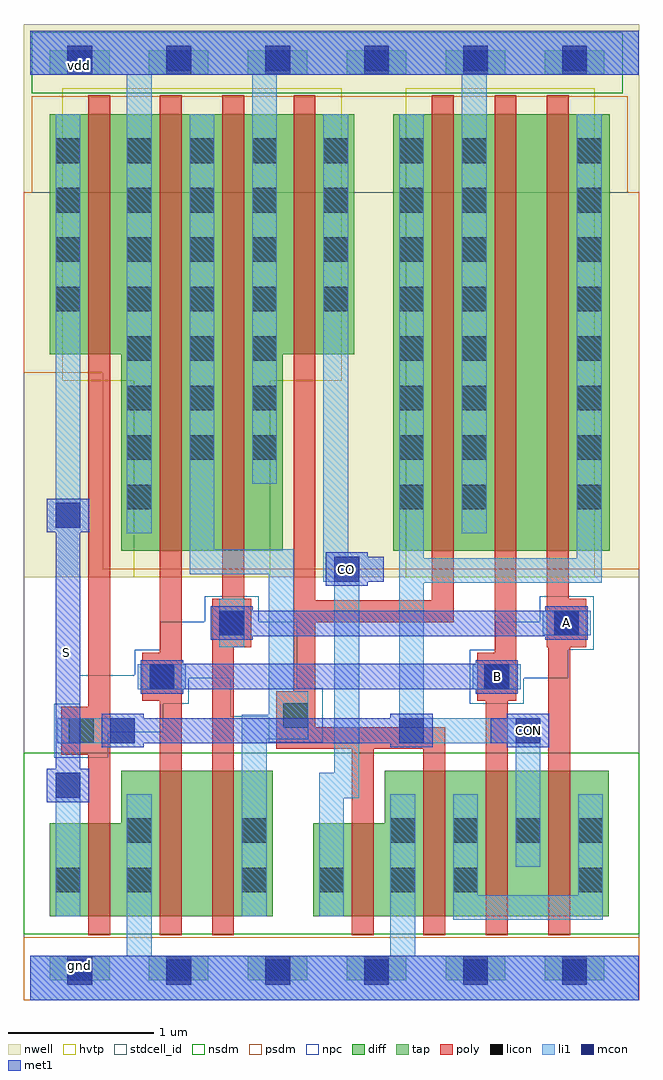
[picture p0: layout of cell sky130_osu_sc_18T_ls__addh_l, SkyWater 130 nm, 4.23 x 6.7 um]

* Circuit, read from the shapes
.subckt sky130_osu_sc_18T_ls__addh_l A B CO CON S gnd vdd
XM1 gnd CON S gnd sky130_fd_pr__nfet_01v8 w=0.64 l=0.15
XM2 n1 B gnd gnd sky130_fd_pr__nfet_01v8 w=1 l=0.15
XM3 n2 A n1 gnd sky130_fd_pr__nfet_01v8 w=1 l=0.15
XM4 gnd n2 CO gnd sky130_fd_pr__nfet_01v8 w=0.64 l=0.15
XM5 n3 n2 gnd gnd sky130_fd_pr__nfet_01v8 w=1 l=0.15
XM6 CON B n3 gnd sky130_fd_pr__nfet_01v8 w=1 l=0.15
XM7 n3 A CON gnd sky130_fd_pr__nfet_01v8 w=1 l=0.15
XM8 vdd CON S vdd sky130_fd_pr__pfet_01v8_hvt w=1.65 l=0.15
XM9 n2 B vdd vdd sky130_fd_pr__pfet_01v8_hvt w=3 l=0.15
XM10 vdd A n2 vdd sky130_fd_pr__pfet_01v8_hvt w=3 l=0.15
XM11 CO n2 vdd vdd sky130_fd_pr__pfet_01v8_hvt w=1.65 l=0.15
XM12 vdd n2 CON vdd sky130_fd_pr__pfet_01v8_hvt w=3 l=0.15
XM13 n4 B vdd vdd sky130_fd_pr__pfet_01v8_hvt w=3 l=0.15
XM14 CON A n4 vdd sky130_fd_pr__pfet_01v8_hvt w=3 l=0.15
.ends

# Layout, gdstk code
import gdstk
lib = gdstk.Library(unit=1e-6, precision=1e-09)
def R(c, l, rs):  # rectangles x0, y0, x1, y1
    for r in rs: c.add(gdstk.rectangle(r[:2], r[2:], *l))
def A(c, l, x, y, w, h, nx, ny, dx, dy):  # array of equal rectangles
    R(c, l, [(x+i*dx, y+j*dy, x+i*dx+w, y+j*dy+h) for i in range(nx) for j in range(ny)])
nwell = (64, 20)
diff = (65, 20)
tap = (65, 44)
poly = (66, 20)
licon = (66, 44)
li1 = (67, 20)
mcon = (67, 44)
met1 = (68, 20)
hvtp = (78, 44)
stdcell_id = (81, 4)
nsdm = (93, 44)
psdm = (94, 20)
npc = (95, 20)

sky130_osu_sc_18t_ls__ad = lib.new_cell('sky130_osu_sc_18T_ls__addh_l')
R(sky130_osu_sc_18t_ls__ad, nwell, [(-0.045,2.905,4.185,6.705)])
R(sky130_osu_sc_18t_ls__ad, diff, [(0.135,0.575,1.665,1.215), (1.945,0.575,3.975,1.215), (0.625,1.215,1.665,1.575), (2.435,1.215,3.975,1.575), (0.625,3.085,1.735,4.435), (2.495,3.085,3.98,6.085), (0.135,4.435,2.225,6.085)])
A(sky130_osu_sc_18t_ls__ad, tap, 0.135, 0.135, 0.41, 0.17, 6, 2, 0.68, 6.22)
R(sky130_osu_sc_18t_ls__ad, poly, [(0.4,0.445,0.55,1.685), (0.89,0.445,1.04,2.055), (1.25,0.445,1.4,2.425), (2.21,0.445,2.36,1.725), (2.7,0.445,2.85,1.725), (3.13,0.445,3.28,2.055), (3.56,0.445,3.71,2.425), (0.215,1.685,0.55,2.015), (1.69,1.725,2.85,1.875), (1.69,1.875,1.96,2.12), (0.4,2.015,0.55,6.215), (0.77,2.055,1.04,2.385), (3.07,2.055,3.34,2.385), (1.81,2.12,1.96,2.595), (0.89,2.385,1.04,6.215), (3.19,2.385,3.34,6.215), (1.25,2.425,1.52,2.755), (3.55,2.425,3.82,2.755), (1.81,2.595,2.91,2.745), (1.81,2.745,1.96,6.215), (2.76,2.745,2.91,6.215), (1.32,2.755,1.47,6.215), (3.55,2.755,3.7,6.215)])
A(sky130_osu_sc_18t_ls__ad, licon, 0.255, 0.135, 0.17, 0.17, 6, 2, 0.68, 6.22)
A(sky130_osu_sc_18t_ls__ad, licon, 2.475, 1.08, 0.17, 0.17, 4, 1, 0.43, 0)
A(sky130_osu_sc_18t_ls__ad, licon, 2.535, 3.37, 0.17, 0.17, 1, 8, 0, 0.34)
A(sky130_osu_sc_18t_ls__ad, licon, 2.965, 3.37, 0.17, 0.17, 1, 8, 0, 0.34)
A(sky130_osu_sc_18t_ls__ad, licon, 3.755, 3.37, 0.17, 0.17, 1, 8, 0, 0.34)
A(sky130_osu_sc_18t_ls__ad, licon, 0.665, 3.71, 0.17, 0.17, 3, 7, 0.43, 0.34)
A(sky130_osu_sc_18t_ls__ad, licon, 0.175, 4.73, 0.17, 0.17, 1, 4, 0, 0.34)
A(sky130_osu_sc_18t_ls__ad, licon, 2.015, 4.73, 0.17, 0.17, 1, 4, 0, 0.34)
R(sky130_osu_sc_18t_ls__ad, licon, [(0.175,0.74,0.345,0.91), (0.665,0.74,0.835,0.91), (1.455,0.74,1.625,0.91), (1.985,0.74,2.155,0.91), (2.475,0.74,2.645,0.91), (2.905,0.74,3.075,0.91), (3.765,0.74,3.935,0.91), (0.665,1.08,0.835,1.25), (1.455,1.08,1.625,1.25), (0.265,1.765,0.435,1.935), (1.74,1.87,1.91,2.04), (0.82,2.135,0.99,2.305), (3.12,2.135,3.29,2.305), (1.3,2.505,1.47,2.675), (3.6,2.505,3.77,2.675), (0.665,3.37,0.835,3.54)])
R(sky130_osu_sc_18t_ls__ad, li1, [(0,0,4.18,0.305), (0.665,0.305,0.835,1.415), (2.475,0.305,2.645,1.415), (2.905,0.55,3.935,0.72), (0.175,0.575,0.345,1.56), (1.455,0.575,1.625,1.79), (1.985,0.575,2.155,1.385), (2.905,0.72,3.075,1.415), (3.765,0.72,3.935,1.415), (3.335,0.915,3.505,1.765), (1.985,1.385,2.26,1.56), (2.09,1.56,2.26,2.875), (0.185,1.765,0.72,1.935), (2.535,1.765,3.505,1.935), (1.455,1.79,1.91,1.96), (2.535,1.935,2.705,2.865), (1.64,1.96,1.91,2.12), (1.64,2.12,1.81,2.925), (0.74,2.135,1.07,2.305), (3.04,2.135,3.37,2.305), (1.3,2.425,1.47,2.755), (3.52,2.505,3.85,2.675), (2.535,2.865,3.925,3.035), (2.015,2.875,2.26,3.045), (1.095,2.925,1.81,3.095), (2.535,3.035,2.705,6.085), (3.755,3.035,3.925,6.085), (2.015,3.045,2.185,6.085), (1.095,3.095,1.265,6.085), (0.665,3.205,0.835,6.355), (2.965,3.205,3.135,6.355), (0.175,3.245,0.345,6.085), (1.525,3.545,1.695,6.355), (0,6.355,4.18,6.66)])
A(sky130_osu_sc_18t_ls__ad, mcon, 0.255, 0.105, 0.17, 0.17, 6, 2, 0.68, 6.28)
R(sky130_osu_sc_18t_ls__ad, mcon, [(0.175,1.39,0.345,1.56), (0.55,1.765,0.72,1.935), (2.535,1.765,2.705,1.935), (3.335,1.765,3.505,1.935), (0.82,2.135,0.99,2.305), (3.12,2.135,3.29,2.305), (1.3,2.505,1.47,2.675), (3.6,2.505,3.77,2.675), (2.09,2.875,2.26,3.045), (0.175,3.245,0.345,3.415)])
R(sky130_osu_sc_18t_ls__ad, met1, [(0,0,4.18,0.305), (0.115,1.36,0.405,1.59), (0.175,1.59,0.345,3.215), (0.49,1.735,0.78,1.765), (2.475,1.735,2.765,1.765), (3.275,1.735,3.565,1.765), (0.49,1.765,2.765,1.935), (3.165,1.765,3.565,1.935), (0.49,1.935,0.78,1.965), (2.475,1.935,2.765,1.965), (3.275,1.935,3.565,1.965), (0.76,2.105,1.05,2.135), (3.06,2.105,3.35,2.135), (0.76,2.135,3.35,2.31), (0.76,2.31,1.05,2.335), (3.06,2.31,3.35,2.335), (1.24,2.475,1.53,2.5), (3.54,2.475,3.83,2.5), (1.24,2.5,3.83,2.675), (1.24,2.675,1.53,2.705), (3.54,2.675,3.83,2.705), (2.03,2.845,2.32,2.875), (2.03,2.875,2.43,3.045), (2.03,3.045,2.32,3.075), (0.115,3.215,0.405,3.445), (0,6.355,4.18,6.66)])
R(sky130_osu_sc_18t_ls__ad, hvtp, [(0.71,2.905,1.65,4.255), (2.58,2.905,3.88,6.265), (0.22,4.255,2.14,6.265)])
R(sky130_osu_sc_18t_ls__ad, stdcell_id, [(-0.045,0,4.185,5.55)])
R(sky130_osu_sc_18t_ls__ad, nsdm, [(-0.045,0.45,4.185,1.7), (0.01,6.23,4.07,6.65)])
R(sky130_osu_sc_18t_ls__ad, psdm, [(-0.045,0,4.185,0.43), (0.5,2.96,4.185,4.31), (-0.045,4.31,4.185,5.55), (0.01,5.55,4.105,6.21)])
R(sky130_osu_sc_18t_ls__ad, npc, [(0.165,1.665,0.535,1.84), (1.64,1.77,2.01,1.945), (0.165,1.84,0.915,2.035), (1.375,1.945,2.01,2.14), (0.34,2.035,1.09,2.21), (3.02,2.035,3.39,2.21), (1.375,2.14,1.835,2.21), (0.34,2.21,1.835,2.23), (3.02,2.21,3.695,2.405), (0.72,2.23,1.835,2.405), (0.895,2.405,1.835,2.6), (3.195,2.405,3.87,2.6), (1.2,2.6,1.57,2.775), (3.5,2.6,3.87,2.775)])
sky130_osu_sc_18t_ls__ad.add(gdstk.Label('gnd', (0.34,0.24), layer=68, texttype=16))
sky130_osu_sc_18t_ls__ad.add(gdstk.Label('vdd', (0.34,6.42), layer=68, texttype=16))
sky130_osu_sc_18t_ls__ad.add(gdstk.Label('S', (0.25,2.385), layer=68, texttype=5))
sky130_osu_sc_18t_ls__ad.add(gdstk.Label('A', (3.685,2.59), layer=68, texttype=5))
sky130_osu_sc_18t_ls__ad.add(gdstk.Label('B', (3.21,2.22), layer=68, texttype=5))
sky130_osu_sc_18t_ls__ad.add(gdstk.Label('CO', (2.175,2.96), layer=68, texttype=5))
sky130_osu_sc_18t_ls__ad.add(gdstk.Label('CON', (3.42,1.85), layer=68, texttype=5))

lib.write_gds('sky130_osu_sc_18T_ls__addh_l.gds')
